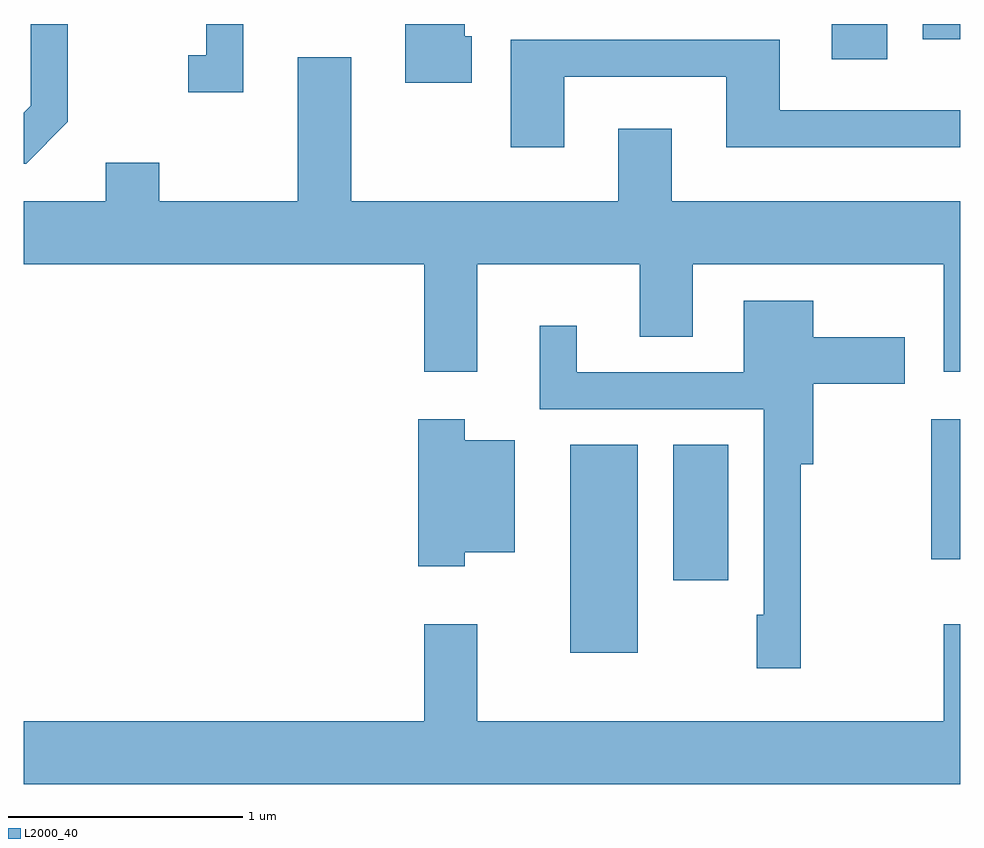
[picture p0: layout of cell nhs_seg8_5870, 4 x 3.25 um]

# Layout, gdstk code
import gdstk
lib = gdstk.Library(unit=1e-6, precision=1e-09)
def R(c, l, rs):  # rectangles x0, y0, x1, y1
    for r in rs: c.add(gdstk.rectangle(r[:2], r[2:], *l))
def P(c, l, *ps):  # polygons
    for p in ps: c.add(gdstk.Polygon(p, *l))
L2000_40 = (2000, 40)

nhs_seg8_5870 = lib.new_cell('nhs_seg8_5870')
R(nhs_seg8_5870, L2000_40, [(363.946,1823.656,364.234,1824.544), (364.386,1823.966,364.619,1824.544), (365.486,1824.056,365.611,1824.654), (365.063,1826.191,365.299,1826.342), (365.451,1826.276,365.611,1826.342)])
P(nhs_seg8_5870, L2000_40, [(362.549,1826.342),(362.391,1826.342),(362.391,1826.209),(362.313,1826.209),(362.313,1826.051),(362.549,1826.051)],
  [(361.799,1825.924),(361.799,1826.342),(361.641,1826.342),(361.641,1825.992),(361.611,1825.962),(361.611,1825.746),(361.622,1825.746)],
  [(363.524,1826.289),(363.494,1826.289),(363.494,1826.342),(363.241,1826.342),(363.241,1826.091),(363.524,1826.091)],
  [(363.919,1826.116),(364.611,1826.116),(364.611,1825.816),(365.611,1825.816),(365.611,1825.974),(364.839,1825.974),(364.839,1826.274),(363.691,1826.274),(363.691,1825.816),(363.919,1825.816)],
  [(363.549,1825.316),(364.241,1825.316),(364.241,1825.006),(364.469,1825.006),(364.469,1825.316),(365.541,1825.316),(365.541,1824.856),(365.611,1824.856),(365.611,1825.584),(364.379,1825.584),(364.379,1825.894),(364.151,1825.894),(364.151,1825.584),(363.009,1825.584),(363.009,1826.199),(362.781,1826.199),(362.781,1825.584),(362.189,1825.584),(362.189,1825.749),(361.961,1825.749),(361.961,1825.584),(361.611,1825.584),(361.611,1825.316),(363.321,1825.316),(363.321,1824.856),(363.549,1824.856)],
  [(364.929,1824.461),(364.984,1824.461),(364.984,1824.806),(365.374,1824.806),(365.374,1825.004),(364.984,1825.004),(364.984,1825.159),(364.686,1825.159),(364.686,1824.854),(363.974,1824.854),(363.974,1825.053),(363.816,1825.053),(363.816,1824.696),(364.771,1824.696),(364.771,1823.819),(364.741,1823.819),(364.741,1823.591),(364.929,1823.591)],
  [(363.494,1824.086),(363.709,1824.086),(363.709,1824.564),(363.494,1824.564),(363.494,1824.654),(363.296,1824.654),(363.296,1824.026),(363.494,1824.026)],
  [(365.611,1823.779),(365.541,1823.779),(365.541,1823.364),(363.549,1823.364),(363.549,1823.779),(363.321,1823.779),(363.321,1823.364),(361.611,1823.364),(361.611,1823.096),(365.611,1823.096)])

lib.write_gds('nhs_seg8_5870.gds')
